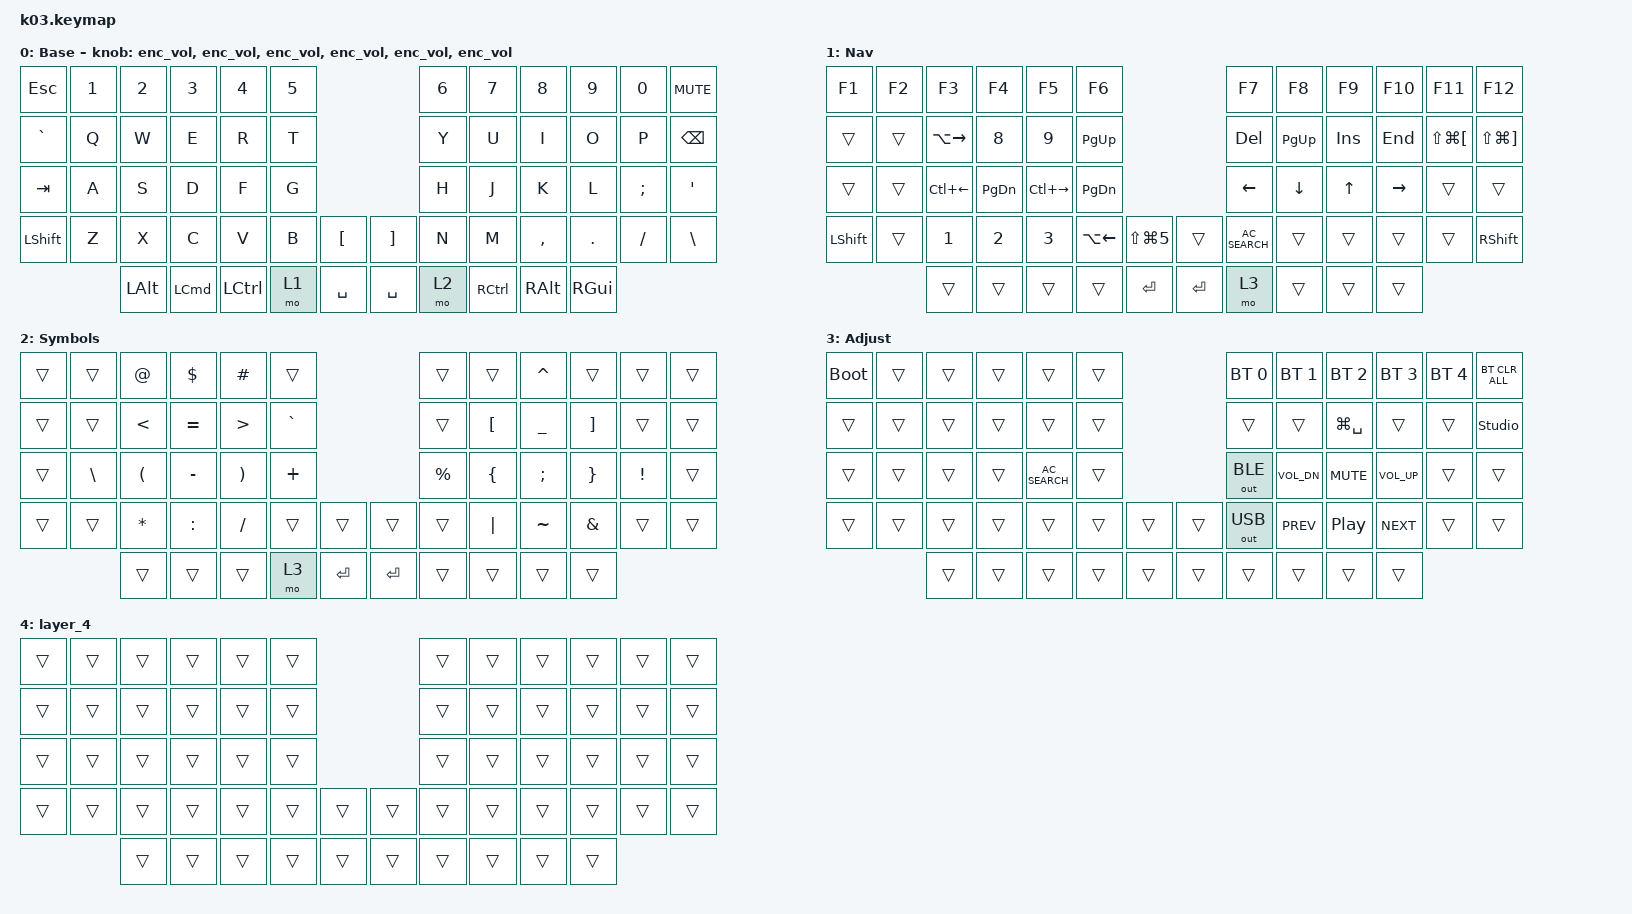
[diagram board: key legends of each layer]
#include "keys_ru.h"
#include <behaviors.dtsi>
#include <dt-bindings/zmk/bt.h>
#include <dt-bindings/zmk/keys.h>
#include <dt-bindings/zmk/outputs.h>

/ {
    behaviors {
        enc_vol: enc_vol {
            compatible = "zmk,behavior-sensor-rotate";
            label = "ENC_VOL";
            #sensor-binding-cells = <0>;
            bindings = <&kp C_VOL_UP>, <&kp C_VOL_DN>;
        };
    };

    keymap {
        compatible = "zmk,keymap";

        base {
            bindings = <
&kp ESCAPE  &kp N1  &kp N2        &kp N3            &kp N4     &kp N5                                  &kp N6  &kp N7     &kp N8     &kp N9    &kp N0    &kp C_MUTE
&kp GRAVE   &kp Q   &kp W         &kp E             &kp R      &kp T                                   &kp Y   &kp U      &kp I      &kp O     &kp P     &kp BACKSPACE
&kp TAB     &kp A   &kp S         &kp D             &kp F      &kp G                                   &kp H   &kp J      &kp K      &kp L     &kp SEMI  &kp SQT
&kp LSHFT   &kp Z   &kp X         &kp C             &kp V      &kp B   &kp LBKT     &kp RIGHT_BRACKET  &kp N   &kp M      &kp COMMA  &kp DOT   &kp FSLH  &kp BACKSLASH
                    &kp LEFT_ALT  &kp LEFT_COMMAND  &kp LCTRL  &mo 1   &kp SPACE    &kp SPACE          &mo 2   &kp RCTRL  &kp RALT   &kp RGUI
            >;

            display-name = "Base";
            sensor-bindings =
                <&enc_vol>,
                <&enc_vol>,
                <&enc_vol>,
                <&enc_vol>,
                <&enc_vol>,
                <&enc_vol>;
        };

        nav {
            bindings = <
&kp F1          &kp F2  &kp F3               &kp F4         &kp F5               &kp F6                                               &kp F7           &kp F8          &kp F9        &kp F10          &kp F11                   &kp F12
&trans          &trans  &kp LA(RIGHT_ARROW)  &kp N8         &kp N9               &kp PG_UP                                            &kp DELETE       &kp PG_UP       &kp INSERT    &kp END          &kp LS(LG(LEFT_BRACKET))  &kp LS(LG(RIGHT_BRACKET))
&trans          &trans  &kp LC(LEFT_ARROW)   &kp PAGE_DOWN  &kp LC(RIGHT_ARROW)  &kp PAGE_DOWN                                        &kp LEFT_ARROW   &kp DOWN_ARROW  &kp UP_ARROW  &kp RIGHT_ARROW  &trans                    &trans
&kp LEFT_SHIFT  &trans  &kp N1               &kp N2         &kp N3               &kp LA(LEFT_ARROW)  &kp LS(LG(NUMBER_5))    &trans   &kp C_AC_SEARCH  &trans          &trans        &trans           &trans                    &kp RIGHT_SHIFT
                        &trans               &trans         &trans               &trans              &kp ENTER               &kp RET  &mo 3            &trans          &trans        &trans
            >;

            display-name = "Nav";
        };

        sym {
            bindings = <
&trans  &trans    &kp AT    &kp DLLR   &kp HASH  &trans                           &trans     &trans    &kp CARET  &trans    &trans    &trans
&trans  &trans    &kp LT    &kp EQUAL  &kp GT    &kp GRAVE                        &trans     &kp LBKT  &kp UNDER  &kp RBKT  &trans    &trans
&trans  &kp BSLH  &kp LPAR  &kp MINUS  &kp RPAR  &kp PLUS                         &kp PRCNT  &kp LBRC  &kp SEMI   &kp RBRC  &kp EXCL  &trans
&trans  &trans    &kp STAR  &kp COLON  &kp FSLH  &trans     &trans     &trans     &trans     &kp PIPE  &kp TILDE  &kp AMPS  &trans    &trans
                  &trans    &trans     &trans    &mo 3      &kp RET    &kp ENTER  &trans     &trans    &trans     &trans
            >;

            display-name = "Symbols";
        };

        adj {
            bindings = <
&bootloader  &trans  &trans  &trans  &trans           &trans                    &bt BT_SEL 0  &bt BT_SEL 1  &bt BT_SEL 2      &bt BT_SEL 3  &bt BT_SEL 4  &bt BT_CLR_ALL
&trans       &trans  &trans  &trans  &trans           &trans                    &trans        &trans        &kp LG(SPACE)     &trans        &trans        &studio_unlock
&trans       &trans  &trans  &trans  &kp C_AC_SEARCH  &trans                    &out OUT_BLE  &kp C_VOL_DN  &kp C_MUTE        &kp C_VOL_UP  &trans        &trans
&trans       &trans  &trans  &trans  &trans           &trans  &trans    &trans  &out OUT_USB  &kp C_PREV    &kp C_PLAY_PAUSE  &kp C_NEXT    &trans        &trans
                     &trans  &trans  &trans           &trans  &trans    &trans  &trans        &trans        &trans            &trans
            >;

            display-name = "Adjust";
        };

        layer_4 {
            bindings = <
&trans  &trans  &trans  &trans  &trans  &trans                    &trans  &trans  &trans  &trans  &trans  &trans
&trans  &trans  &trans  &trans  &trans  &trans                    &trans  &trans  &trans  &trans  &trans  &trans
&trans  &trans  &trans  &trans  &trans  &trans                    &trans  &trans  &trans  &trans  &trans  &trans
&trans  &trans  &trans  &trans  &trans  &trans  &trans    &trans  &trans  &trans  &trans  &trans  &trans  &trans
                &trans  &trans  &trans  &trans  &trans    &trans  &trans  &trans  &trans  &trans
            >;
        };
    };
};
